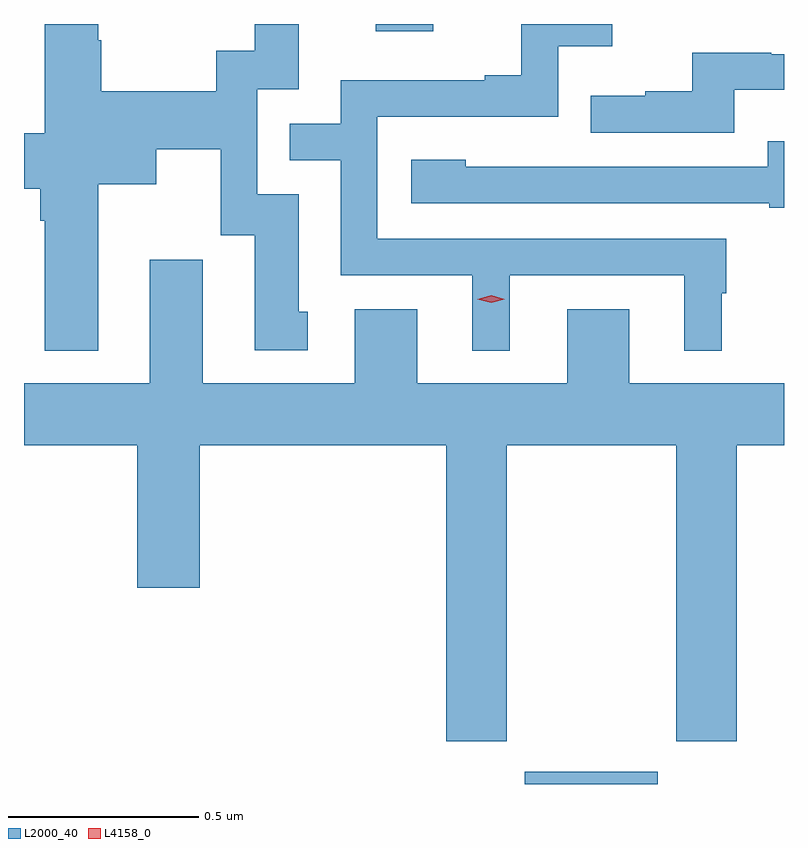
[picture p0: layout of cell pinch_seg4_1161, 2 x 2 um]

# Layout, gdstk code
import gdstk
lib = gdstk.Library(unit=1e-6, precision=1e-09)
def R(c, l, rs):  # rectangles x0, y0, x1, y1
    for r in rs: c.add(gdstk.rectangle(r[:2], r[2:], *l))
def P(c, l, *ps):  # polygons
    for p in ps: c.add(gdstk.Polygon(p, *l))
L2000_40 = (2000, 40)
L4158_0 = (4158, 0)

pinch_seg4_1161 = lib.new_cell('pinch_seg4_1161')
R(pinch_seg4_1161, L2000_40, [(489.704,785.273,490.054,785.305), (489.311,787.254,489.463,787.273)])
P(pinch_seg4_1161, L2000_40, [(488.581,786.851),(488.734,786.851),(488.734,786.944),(488.904,786.944),(488.904,786.717),(488.993,786.717),(488.993,786.414),(489.133,786.414),(489.133,786.516),(489.109,786.516),(489.109,786.825),(489,786.825),(489,787.101),(489.109,787.101),(489.109,787.273),(488.993,787.273),(488.993,787.202),(488.892,787.202),(488.892,787.096),(488.589,787.096),(488.589,787.23),(488.581,787.23),(488.581,787.273),(488.441,787.273),(488.441,786.986),(488.386,786.986),(488.386,786.839),(488.429,786.839),(488.429,786.755),(488.441,786.755),(488.441,786.413),(488.581,786.413)],
  [(489.664,786.612),(490.124,786.612),(490.124,786.413),(490.222,786.413),(490.222,786.564),(490.234,786.564),(490.234,786.708),(489.315,786.708),(489.315,787.029),(489.792,787.029),(489.792,787.214),(489.934,787.214),(489.934,787.273),(489.694,787.273),(489.694,787.138),(489.599,787.138),(489.599,787.125),(489.219,787.125),(489.219,787.011),(489.085,787.011),(489.085,786.915),(489.219,786.915),(489.219,786.612),(489.566,786.612),(489.566,786.413),(489.664,786.413)],
  [(490.255,787.1),(490.386,787.1),(490.386,787.194),(490.352,787.194),(490.352,787.197),(490.145,787.197),(490.145,787.096),(490.021,787.096),(490.021,787.084),(489.877,787.084),(489.877,786.987),(490.255,786.987)],
  [(490.386,786.964),(490.343,786.964),(490.343,786.897),(489.785,786.897),(489.785,786.898),(489.549,786.898),(489.549,786.916),(489.405,786.916),(489.405,786.801),(490.347,786.801),(490.347,786.789),(490.386,786.789)],
  [(488.848,786.164),(489.497,786.164),(489.497,785.385),(489.657,785.385),(489.657,786.164),(490.102,786.164),(490.102,785.385),(490.262,785.385),(490.262,786.164),(490.386,786.164),(490.386,786.328),(489.979,786.328),(489.979,786.523),(489.815,786.523),(489.815,786.328),(489.421,786.328),(489.421,786.523),(489.257,786.523),(489.257,786.328),(488.857,786.328),(488.857,786.652),(488.717,786.652),(488.717,786.328),(488.386,786.328),(488.386,786.164),(488.684,786.164),(488.684,785.79),(488.848,785.79)])
P(pinch_seg4_1161, L4158_0, [(489.615,786.539),(489.579,786.549),(489.579,786.549),(489.579,786.549),(489.615,786.559),(489.651,786.549),(489.651,786.549),(489.651,786.549)])

lib.write_gds('pinch_seg4_1161.gds')
